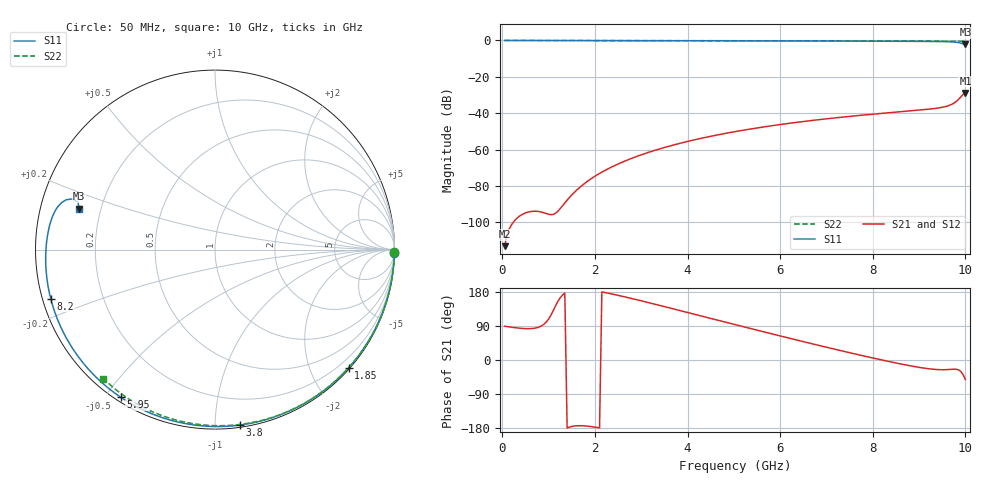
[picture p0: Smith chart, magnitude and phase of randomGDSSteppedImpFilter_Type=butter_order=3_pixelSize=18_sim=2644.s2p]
! freq	dB(S11)	phase(S11)	dB(S12)	phase(S12)
!  dB(S21)	phase(S21)	dB(S22)	phase(S22)
!S-par simulation data
#  GHz  S  DB  R 50
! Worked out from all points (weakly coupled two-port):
!   200 points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, 50 MHz to 10 GHz, reference 50 ohm
!   highest |S21| = -28.84 dB at 10 GHz (marker M1); lowest = -113.1 dB at 50 MHz (marker M2)
!   lowest |S11| = -2.1 dB at 10 GHz (marker M3), VSWR 8.51, Z = 6 + j7.28 ohm
!   |S11| at or under -10 dB: nowhere
!   |S22| runs from -0.4 to 0.0 dB; largest |S21 - S12| = 0
!   S11 on the Smith chart (normalised r, x): 50 MHz: open; 1.85 GHz: 0.02, -2.64; 3.8 GHz: 0.01, -1.15; 5.95 GHz: 0.02, -0.55; 8.2 GHz: 0.02, -0.15; 10 GHz: 0.12, +0.15
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0.05  -0.00 -1.2  -113.13 89.1  -113.13 89.1  -0.00 -0.8
0.85  -0.02 -19.3  -94.41 90.3  -94.41 90.3  -0.02 -12.8
1.7  -0.05 -38.2  -80.19 -173.3  -80.19 -173.3  -0.03 -25.4
1.75  -0.05 -39.3  -79.16 -173.6  -79.16 -173.6  -0.03 -26.1
1.85  -0.05 -41.5  -77.24 -174.7  -77.24 -174.7  -0.04 -27.6
2.15  -0.06 -48.0  -72.41 179.6  -72.41 179.6  -0.04 -32.0
2.5  -0.07 -55.4  -67.93 170.7  -67.93 170.7  -0.05 -37.0
2.9  -0.08 -63.8  -63.80 159.2  -63.80 159.2  -0.06 -42.7
3.4  -0.10 -74.0  -59.61 144.0  -59.61 144.0  -0.07 -49.8
3.8  -0.11 -82.0  -56.80 131.6  -56.80 131.6  -0.08 -55.3
4.4  -0.13 -93.7  -53.23 112.9  -53.23 112.9  -0.09 -63.4
5.05  -0.16 -106.1  -50.03 92.7  -50.03 92.7  -0.11 -72.0
5.95  -0.21 -122.6  -46.42 65.0  -46.42 65.0  -0.14 -83.5
6.7  -0.26 -136.2  -43.96 42.5  -43.96 42.5  -0.18 -92.8
7.45  -0.32 -149.7  -41.89 20.7  -41.89 20.7  -0.22 -101.8
8.2  -0.40 -163.4  -40.09 -0.1  -40.09 -0.1  -0.28 -110.6
8.35  -0.42 -166.2  -39.75 -4.0  -39.75 -4.0  -0.29 -112.4
9  -0.51 -178.7  -38.32 -19.4  -38.32 -19.4  -0.34 -119.8
9.55  -0.66 169.6  -36.49 -25.6  -36.49 -25.6  -0.40 -126.0
9.75  -0.86 164.4  -34.50 -24.2  -34.50 -24.2  -0.42 -128.2
9.9  -1.46 160.5  -31.06 -30.1  -31.06 -30.1  -0.43 -129.8
10  -2.05 163.2  -28.84 -51.6  -28.84 -51.6  -0.43 -130.9
